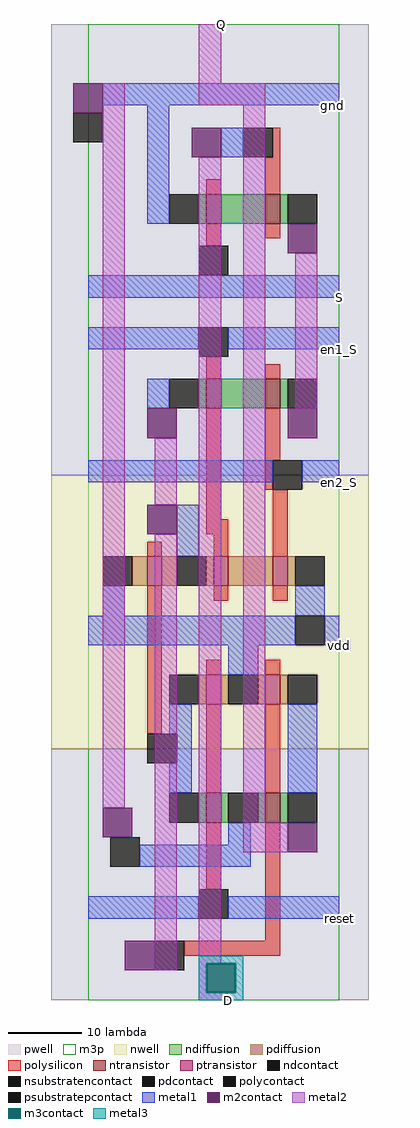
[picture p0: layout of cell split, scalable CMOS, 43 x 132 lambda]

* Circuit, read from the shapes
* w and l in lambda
.subckt split D Q S en1_S en2_S gnd reset vdd
M1 gnd reset n1 gnd nfet w=4 l=2
M2 n2 en1_S n3 gnd nfet w=4 l=2
M3 n4 S gnd gnd nfet w=4 l=2
M4 Q n3 gnd gnd nfet w=4 l=2
M5 n5 en2_S n2 gnd nfet w=4 l=2
M6 n5 D n4 gnd nfet w=4 l=2
M7 n3 n1 vdd vdd pfet w=4 l=2
M8 vdd reset n1 vdd pfet w=4 l=2
M9 n6 en1_S n3 vdd pfet w=4 l=2
M10 Q n3 vdd vdd pfet w=4 l=2
M11 vdd en2_S n6 vdd pfet w=4 l=2
.ends

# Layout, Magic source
magic
tech scmos
<< nwell >>
rect -5 34 38 71
<< pwell >>
rect -5 71 38 132
rect -5 0 38 34
<< ntransistor >>
rect 16 105 18 109
rect 24 105 26 109
rect 16 80 18 84
rect 24 80 26 84
rect 16 24 18 28
rect 24 24 26 28
<< ptransistor >>
rect 8 56 10 60
rect 17 56 19 60
rect 25 56 27 60
rect 16 40 18 44
rect 24 40 26 44
<< ndiffusion >>
rect 15 105 16 109
rect 18 105 24 109
rect 26 105 27 109
rect 15 80 16 84
rect 18 80 24 84
rect 26 80 27 84
rect 15 24 16 28
rect 18 24 19 28
rect 23 24 24 28
rect 26 24 27 28
<< pdiffusion >>
rect 6 56 8 60
rect 10 56 12 60
rect 16 56 17 60
rect 19 56 25 60
rect 27 56 28 60
rect 15 40 16 44
rect 18 40 19 44
rect 23 40 24 44
rect 26 40 27 44
<< ndcontact >>
rect 11 105 15 109
rect 27 105 31 109
rect 11 80 15 84
rect 27 80 31 84
rect 11 24 15 28
rect 19 24 23 28
rect 27 24 31 28
<< pdcontact >>
rect 2 56 6 60
rect 12 56 16 60
rect 28 56 32 60
rect 11 40 15 44
rect 19 40 23 44
rect 27 40 31 44
<< psubstratepcontact >>
rect -2 116 2 120
rect 3 18 7 22
<< nsubstratencontact >>
rect 28 48 32 52
<< polysilicon >>
rect 25 114 26 118
rect 16 109 18 111
rect 24 109 26 114
rect 16 102 18 105
rect 24 103 26 105
rect 16 84 18 87
rect 24 84 26 86
rect 16 65 18 80
rect 24 73 26 80
rect 24 69 25 73
rect 16 63 19 65
rect 8 60 10 62
rect 17 60 19 63
rect 25 60 27 69
rect 8 36 10 56
rect 17 54 19 56
rect 25 54 27 56
rect 16 44 18 46
rect 24 44 26 46
rect 16 28 18 40
rect 24 28 26 40
rect 16 15 18 24
rect 24 8 26 24
rect 13 6 26 8
<< polycontact >>
rect 21 114 25 118
rect 15 98 19 102
rect 15 87 19 91
rect 25 69 29 73
rect 8 32 12 36
rect 15 11 19 15
rect 9 4 13 8
<< metal1 >>
rect 2 121 34 124
rect 8 105 11 121
rect 18 114 21 118
rect 0 95 34 98
rect 0 88 15 91
rect 19 88 34 91
rect 8 80 11 84
rect 0 70 25 73
rect 29 70 34 73
rect 12 60 15 67
rect 2 52 5 56
rect 28 52 32 56
rect 0 48 28 52
rect 32 48 34 52
rect 19 44 23 48
rect 11 36 14 40
rect 12 32 14 36
rect 11 28 14 32
rect 27 28 31 40
rect 19 21 22 24
rect 7 18 22 21
rect 0 11 15 14
rect 19 11 34 14
<< m2contact >>
rect -2 120 2 124
rect 14 114 18 118
rect 27 101 31 105
rect 8 76 12 80
rect 27 76 31 80
rect 8 63 12 67
rect 2 22 6 26
rect 27 20 31 24
rect 5 4 9 8
<< metal2 >>
rect 15 124 18 132
rect 2 26 5 124
rect 15 121 24 124
rect 9 67 12 76
rect 9 4 12 63
rect 15 5 18 114
rect 21 24 24 121
rect 28 80 31 101
rect 21 20 27 24
rect 15 1 16 5
rect 15 0 19 1
<< m3contact >>
rect 16 1 20 5
<< metal3 >>
rect 15 5 21 6
rect 15 1 16 5
rect 20 1 21 5
rect 15 0 21 1
<< m3p >>
rect 0 0 34 132
<< labels >>
rlabel metal1 34 11 34 11 8 reset
rlabel metal1 34 95 34 95 7 S
rlabel metal1 33 121 33 121 5 gnd
rlabel metal3 19 0 19 0 1 D
rlabel metal1 34 70 34 70 7 en2_S
rlabel metal1 34 48 34 48 5 vdd
rlabel metal1 34 88 34 88 7 en1_S
rlabel metal2 18 132 18 132 5 Q
<< end >>
